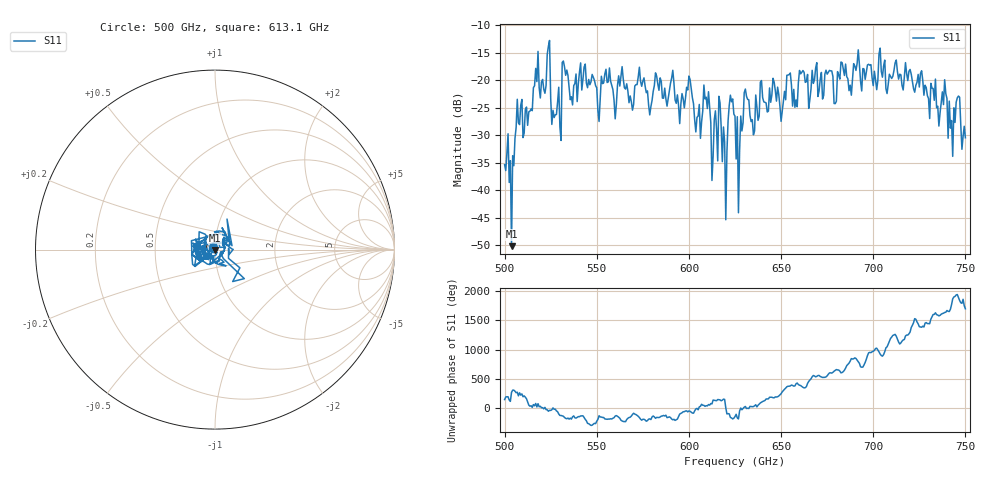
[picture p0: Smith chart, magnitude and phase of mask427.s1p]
!Created with skrf (http://scikit-rf.org).
# GHz S MA R 50.0
!freq magS11 angS11
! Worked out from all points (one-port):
!   401 points, 500 GHz to 750 GHz, reference 50 ohm
!   lowest |S11| = -50.2 dB at 503.8 GHz (marker M1), VSWR 1.01, Z = 50 - j0.308 ohm
!   |S11| at or under -10 dB: start of sweep to end of sweep
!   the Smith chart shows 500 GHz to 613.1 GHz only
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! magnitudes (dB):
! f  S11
! 500 GHz  -35.4
! 503.8 GHz  -50.2
! 508.1 GHz  -28.1
! 513.8 GHz  -25.6
! 516.9 GHz  -17.8
! 523.8 GHz  -13.8
! 526.9 GHz  -26.8
! 531.2 GHz  -16.8
! 532.5 GHz  -17.6
! 550.6 GHz  -25.6
! 562.5 GHz  -21.1
! 593.8 GHz  -22.7
! 609.4 GHz  -23.1
! 612.5 GHz  -38.2
! 617.5 GHz  -28.5
! 619.4 GHz  -31.2
! 622.5 GHz  -22.7
! 625 GHz  -26.5
! 626.9 GHz  -44.1
! 631.2 GHz  -22.9
! 634.4 GHz  -27.2
! 656.2 GHz  -24.7
! 687.5 GHz  -20.9
! 718.8 GHz  -20.1
! 738.8 GHz  -19.9
! 741.9 GHz  -28.7
! 746.2 GHz  -22.9
! 750 GHz  -30.5
